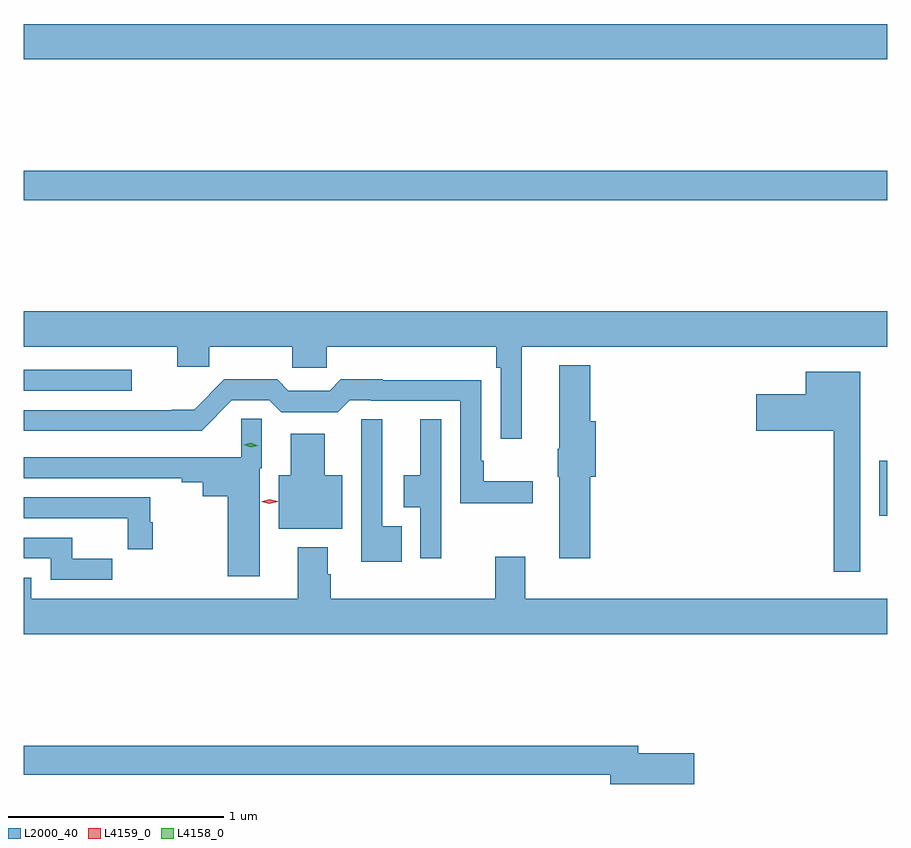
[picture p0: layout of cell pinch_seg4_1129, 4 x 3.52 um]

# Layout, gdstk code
import gdstk
lib = gdstk.Library(unit=1e-6, precision=1e-09)
def R(c, l, rs):  # rectangles x0, y0, x1, y1
    for r in rs: c.add(gdstk.rectangle(r[:2], r[2:], *l))
def P(c, l, *ps):  # polygons
    for p in ps: c.add(gdstk.Polygon(p, *l))
L2000_40 = (2000, 40)
L4158_0 = (4158, 0)
L4159_0 = (4159, 0)

pinch_seg4_1129 = lib.new_cell('pinch_seg4_1129')
R(pinch_seg4_1129, L2000_40, [(476.279,777.389,476.316,777.643), (472.316,777.969,472.816,778.065), (472.316,778.852,476.316,778.988), (472.316,779.504,476.316,779.668)])
P(pinch_seg4_1129, L2000_40, [(474.622,778.172),(476.316,778.172),(476.316,778.336),(472.316,778.336),(472.316,778.172),(473.027,778.172),(473.027,778.079),(473.175,778.079),(473.175,778.172),(473.56,778.172),(473.56,778.074),(473.72,778.074),(473.72,778.172),(474.505,778.172),(474.505,778.076),(474.525,778.076),(474.525,777.747),(474.622,777.747)],
  [(474.941,777.57),(474.965,777.57),(474.965,777.828),(474.941,777.828),(474.941,778.087),(474.797,778.087),(474.797,777.699),(474.79,777.699),(474.79,777.57),(474.797,777.57),(474.797,777.192),(474.941,777.192)],
  [(476.191,778.057),(475.94,778.057),(475.94,777.952),(475.71,777.952),(475.71,777.782),(476.07,777.782),(476.07,777.129),(476.191,777.129)],
  [(474.673,777.548),(474.448,777.548),(474.448,777.643),(474.435,777.643),(474.435,778.018),(473.978,778.018),(473.978,778.021),(473.785,778.021),(473.733,777.969),(473.541,777.969),(473.49,778.021),(473.245,778.021),(473.105,777.881),(473,777.881),(473,777.879),(472.316,777.879),(472.316,777.783),(473.139,777.783),(473.28,777.924),(473.454,777.924),(473.509,777.869),(473.771,777.869),(473.826,777.924),(473.926,777.924),(473.926,777.921),(474.339,777.921),(474.339,777.448),(474.673,777.448)],
  [(473.41,777.609),(473.417,777.609),(473.417,777.839),(473.322,777.839),(473.322,777.66),(472.316,777.66),(472.316,777.564),(473.048,777.564),(473.048,777.544),(473.144,777.544),(473.144,777.479),(473.26,777.479),(473.26,777.108),(473.41,777.108)],
  [(474.249,777.836),(474.152,777.836),(474.152,777.576),(474.077,777.576),(474.077,777.428),(474.153,777.428),(474.153,777.192),(474.249,777.192)],
  [(474.068,777.34),(473.976,777.34),(473.976,777.836),(473.88,777.836),(473.88,777.176),(474.068,777.176)],
  [(473.791,777.577),(473.71,777.577),(473.71,777.769),(473.552,777.769),(473.552,777.577),(473.498,777.577),(473.498,777.329),(473.791,777.329)],
  [(472.912,777.359),(472.902,777.359),(472.902,777.474),(472.316,777.474),(472.316,777.378),(472.798,777.378),(472.798,777.234),(472.912,777.234)],
  [(472.726,777.191),(472.541,777.191),(472.541,777.288),(472.316,777.288),(472.316,777.192),(472.44,777.192),(472.44,777.093),(472.726,777.093)],
  [(476.316,777.004),(474.64,777.004),(474.64,777.199),(474.5,777.199),(474.5,777.004),(473.738,777.004),(473.738,777.117),(473.725,777.117),(473.725,777.244),(473.585,777.244),(473.585,777.004),(472.351,777.004),(472.351,777.102),(472.316,777.102),(472.316,776.84),(476.316,776.84)],
  [(475.423,776.288),(475.162,776.288),(475.162,776.324),(472.316,776.324),(472.316,776.188),(475.034,776.188),(475.034,776.146),(475.423,776.146)])
P(pinch_seg4_1129, L4158_0, [(473.367,777.707),(473.334,777.719),(473.334,777.719),(473.334,777.719),(473.368,777.727),(473.402,777.714),(473.402,777.714),(473.402,777.714)])
P(pinch_seg4_1129, L4159_0, [(473.453,777.445),(473.415,777.455),(473.415,777.455),(473.415,777.455),(473.453,777.465),(473.492,777.456),(473.492,777.455),(473.492,777.455)])

lib.write_gds('pinch_seg4_1129.gds')
